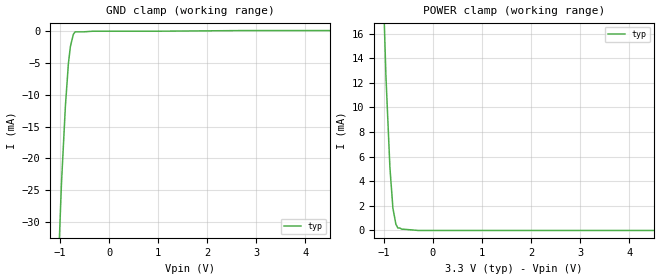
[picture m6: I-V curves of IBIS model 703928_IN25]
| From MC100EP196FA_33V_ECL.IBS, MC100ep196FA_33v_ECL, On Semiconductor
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| (C) COPYRIGHT 1993-2001
| MENTOR GRAPHICS CORPORATION
| ICX STANDARD LIBRARY, ICX PROJECT MODELING,
| ICX CUSTOM MODELING, ICX VENDOR MODEL
| ALL RIGHTS RESERVED.
| THE FOLLOWING ARE TRADEMARKS OR SERVICE MARKS OF
| MENTOR GRAPHICS CORPORATION:ICX (R), ICX STANDARD
| LIBRARY(R), ICX PROJECT MODELING(R), ICX CUSTOM
| MODELING(R), qualityIBIS(TM), MODELVIEWER(TM),
| AND MODELEDITOR(TM)
| ALL COPIES OF SOFTWARE, INCLUDING BUT NOT LIMITED TO
| ANY MODIFICATIONS, ENHANCEMENTS OR DERIVATIVE WORKS,
| MUST CONTAIN ALL MENTOR GRAPHICS CORPORATION'S
| NOTICES AND LEGENDS, INCLUDING THOSE EMBEDDED IN
| SOFTWARE AND THOSE AFFIXED TO SOFTWARE MEDIUM
| AND CONTAINER, AS RECEIVED FROM MENTOR GRAPHICS
| CORPORATION.
| Model Application Version 1.89 2/18/99.
[Model] 703928_IN25
Model_type Input_ECL
Vinl = 1.755V
Vinh = 2.155V
C_comp 4.000pF NA NA
| variable typ   min   max
[Voltage Range] 3.300V NA NA
[GND Clamp Reference] 0.000V NA NA
[POWER Clamp Reference] 3.300V NA NA
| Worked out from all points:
|   GND clamp passes 1 mA (typ) near -0.75 V on its own axis
|   POWER clamp passes 1 mA (typ) near -0.78 V on its own axis
[GND Clamp]
-3.3V     -600.5mA   NA         NA
-1.115V   -53.2mA    NA         NA
-973mV    -24.1mA    NA         NA
-892mV    -11.8mA    NA         NA
-831mV    -5.1mA     NA         NA
-790mV    -2.4mA     NA         NA
-730mV    -500uA     NA         NA
-694.3mV  -100uA     NA         NA
2.736V    100uA      NA         NA
6.6V      100uA      NA         NA
[POWER Clamp]
-3.3V     407mA      NA         NA
-1.18V    41.4mA     NA         NA
-957mV    12.5mA     NA         NA
-876mV    5.1mA      NA         NA
-815mV    1.8mA      NA         NA
-754mV    500uA      NA         NA
-713.5mV  200uA      NA         NA
-673mV    200uA      NA         NA
-632.5mV  100uA      NA         NA
-296mV    0A         NA         NA
6.6V      0A         NA         NA
